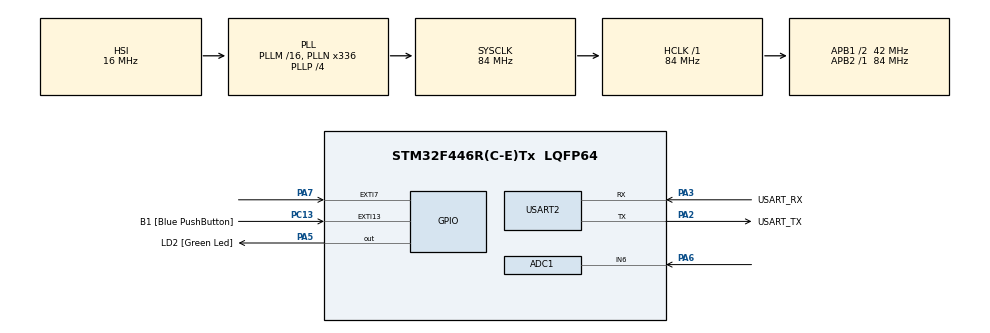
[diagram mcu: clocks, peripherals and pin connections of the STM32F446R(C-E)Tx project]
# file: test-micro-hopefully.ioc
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ADC1.Channel-4\#ChannelRegularConversion=ADC_CHANNEL_6
ADC1.NbrOfConversionFlag=1
ADC1.Rank-4\#ChannelRegularConversion=1
ADC1.SamplingTime-4\#ChannelRegularConversion=ADC_SAMPLETIME_3CYCLES
ADC1.master=1
Dma.ADC1.0.Direction=DMA_PERIPH_TO_MEMORY
Dma.ADC1.0.FIFOMode=DMA_FIFOMODE_DISABLE
Dma.ADC1.0.Instance=DMA2_Stream0
Dma.ADC1.0.MemDataAlignment=DMA_MDATAALIGN_HALFWORD
Dma.ADC1.0.MemInc=DMA_MINC_ENABLE
Dma.ADC1.0.Mode=DMA_NORMAL
Dma.ADC1.0.PeriphDataAlignment=DMA_PDATAALIGN_HALFWORD
Dma.ADC1.0.PeriphInc=DMA_PINC_DISABLE
Dma.ADC1.0.Priority=DMA_PRIORITY_LOW
Dma.Request0=ADC1
Dma.Request1=USART2_TX
Dma.USART2_TX.1.Direction=DMA_MEMORY_TO_PERIPH
Dma.USART2_TX.1.FIFOMode=DMA_FIFOMODE_DISABLE
Dma.USART2_TX.1.Instance=DMA1_Stream6
Dma.USART2_TX.1.MemDataAlignment=DMA_MDATAALIGN_BYTE
Dma.USART2_TX.1.MemInc=DMA_MINC_ENABLE
Dma.USART2_TX.1.Mode=DMA_NORMAL
Dma.USART2_TX.1.PeriphDataAlignment=DMA_PDATAALIGN_BYTE
Dma.USART2_TX.1.PeriphInc=DMA_PINC_DISABLE
Dma.USART2_TX.1.Priority=DMA_PRIORITY_LOW
Mcu.Family=STM32F4
Mcu.Name=STM32F446R(C-E)Tx
Mcu.Package=LQFP64
NVIC.DMA1_Stream6_IRQn=true\:0\:0\:false\:false\:true\:false\:true\:true
NVIC.DMA2_Stream0_IRQn=true\:0\:0\:false\:false\:true\:false\:true\:true
NVIC.EXTI15_10_IRQn=true\:0\:0\:false\:false\:true\:true\:true\:true
NVIC.EXTI9_5_IRQn=true\:0\:0\:false\:false\:true\:true\:true\:true
NVIC.PriorityGroup=NVIC_PRIORITYGROUP_0
NVIC.TIM2_IRQn=true\:0\:0\:false\:false\:true\:true\:true\:true
NVIC.TIM3_IRQn=true\:0\:0\:false\:false\:true\:true\:true\:true
NVIC.USART2_IRQn=true\:0\:0\:false\:false\:true\:true\:true\:true
PA13.GPIO_Label=TMS
PA13.Mode=Serial_Wire
PA13.Signal=SYS_JTMS-SWDIO
PA14.GPIO_Label=TCK
PA14.Mode=Serial_Wire
PA14.Signal=SYS_JTCK-SWCLK
PA2.GPIO_Label=USART_TX
PA2.Mode=Asynchronous
PA2.Signal=USART2_TX
PA3.GPIO_Label=USART_RX
PA3.Mode=Asynchronous
PA3.Signal=USART2_RX
PA5.GPIO_Label=LD2 [Green Led]
PA5.Signal=GPIO_Output
PA6.Signal=ADCx_IN6
PA7.GPIO_ModeDefaultEXTI=GPIO_MODE_IT_RISING_FALLING
PA7.Signal=GPXTI7
PB3.GPIO_Label=SWO
PB3.Signal=SYS_JTDO-SWO
PC13.GPIO_Label=B1 [Blue PushButton]
PC13.GPIO_ModeDefaultEXTI=GPIO_MODE_IT_FALLING
PC13.Signal=GPXTI13
PC14-OSC32_IN.Mode=LSE-External-Oscillator
PC14-OSC32_IN.Signal=RCC_OSC32_IN
PC15-OSC32_OUT.Mode=LSE-External-Oscillator
PC15-OSC32_OUT.Signal=RCC_OSC32_OUT
PH0-OSC_IN.Mode=HSE-External-Oscillator
PH0-OSC_IN.Signal=RCC_OSC_IN
PH1-OSC_OUT.Mode=HSE-External-Oscillator
PH1-OSC_OUT.Signal=RCC_OSC_OUT
ProjectManager.HeapSize=0x200
ProjectManager.StackSize=0x400
ProjectManager.TargetToolchain=Makefile
RCC.48MHZClocksFreq_Value=84000000
RCC.AHBFreq_Value=84000000
RCC.APB1CLKDivider=RCC_HCLK_DIV2
RCC.APB1Freq_Value=42000000
RCC.APB1TimFreq_Value=84000000
RCC.APB2Freq_Value=84000000
RCC.APB2TimFreq_Value=84000000
RCC.CortexFreq_Value=84000000
RCC.FLatency-AdvancedSettings=FLASH_LATENCY_2
RCC.HCLKFreq_Value=84000000
RCC.HSE_VALUE=8000000
RCC.HSI_VALUE=16000000
RCC.PLLN=336
RCC.PLLP=RCC_PLLP_DIV4
RCC.SYSCLKFreq_VALUE=84000000
RCC.SYSCLKSource=RCC_SYSCLKSOURCE_PLLCLK
RCC.USBFreq_Value=168000000
RCC.VCOOutputFreq_Value=336000000
SH.ADCx_IN6.0=ADC1_IN6,IN6
TIM2.Period=50000
TIM2.Prescaler=8400
TIM3.Period=1000
TIM3.Prescaler=8400
USART2.VirtualMode=VM_ASYNC
VP_TIM2_VS_ClockSourceINT.Mode=Internal
VP_TIM3_VS_ClockSourceINT.Mode=Internal
board=NUCLEO-F446RE

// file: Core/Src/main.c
/* USER CODE BEGIN Header */
/**
  ******************************************************************************
  * @file           : main.c
  * @brief          : Main program body
  ******************************************************************************
  * @attention
  *
  * Copyright (c) 2024 STMicroelectronics.
  * All rights reserved.
  *
  * This software is licensed under terms that can be found in the LICENSE file
  * in the root directory of this software component.
  * If no LICENSE file comes with this software, it is provided AS-IS.
  *
  ******************************************************************************
  */
/* USER CODE END Header */
#include "main.h"

/* USER CODE BEGIN Includes */
#include<stdbool.h>
#include<stdio.h>
#include<string.h>
#include <time.h>
#include <stdlib.h>
/* USER CODE END Includes */

/* USER CODE BEGIN PTD */
typedef enum{
  APP_INIT, APP_WAIT_REQUEST, APP_LISTENING, APP_PAUSE, APP_WARNING, APP_ERROR
} App_State;

typedef enum{
  FILTER_NONE, FILTER_RAW, FILTER_AVG, FILTER_RND
} Filter_Type;
/* USER CODE END PTD */

/* USER CODE BEGIN PD */
#define BUFFER_SIZE 30 // for cli input
#define RECORDABLE_VALUES 150 // for sensor value recording
#define POTENTIOMETER_THRESHOLD 2047
/* USER CODE END PD */

/* USER CODE BEGIN PM */
#define CHECK(res) if(res!=HAL_OK) {State = APP_ERROR;}
#define BREAK_IF_ERROR() if(State==APP_ERROR) {break;}
#define STOP_5SEC_TIMER() CHECK(HAL_TIM_Base_Stop_IT(&htim2)); __HAL_TIM_SET_COUNTER(&htim2,1);
/* USER CODE END PM */

ADC_HandleTypeDef hadc1;
DMA_HandleTypeDef hdma_adc1;

TIM_HandleTypeDef htim2;
TIM_HandleTypeDef htim3;

UART_HandleTypeDef huart2;
DMA_HandleTypeDef hdma_usart2_tx;

/* USER CODE BEGIN PV */
typedef struct {
  uint32_t hall;
  uint32_t result;
  uint32_t array[RECORDABLE_VALUES];
  uint8_t array_length;
  uint8_t array_index;
  uint32_t array_sum;
} Sensor_result_container;

Sensor_result_container analog = {0};
Sensor_result_container digital = {0};

uint8_t input_buffer[BUFFER_SIZE] = {0}; //uart buffer
uint8_t command[BUFFER_SIZE] = {0}; //it contains all received chars from cli, even if sent one at a time
uint8_t command_idx = 0;

App_State State = APP_INIT;

uint8_t timer_counter = 0; // for flashing led, it counts how many times 100ms passed

bool is_adc_ready = false;
bool request_state_change = false;
bool is_warning = false;
bool first_time_timer = true; // to avoid triggering warning when you start it the first time from flash
bool is_hall_sensor = true; //true if it's a sensor hall, false if it's a potentiometer

Filter_Type filter = FILTER_NONE;

//for debugging purposes
/*char READY[] = "RDY\n";
char BUSY[] = "BSY\n";
char UNKNOWN[] = "IDK\n";
uint32_t count = 0;*/
/* USER CODE END PV */

void SystemClock_Config(void);
static void MX_GPIO_Init(void);
static void MX_DMA_Init(void);
static void MX_USART2_UART_Init(void);
static void MX_ADC1_Init(void);
static void MX_TIM3_Init(void);
static void MX_TIM2_Init(void);
/* USER CODE BEGIN PFP */
void resetSensorValues(void);
void randomFilter(void);
void movingAverage(void);
void simulateDigitalForPotentiometer(void);
/* USER CODE END PFP */

int main(void)
{

  /* USER CODE BEGIN 1 */
  State = APP_INIT;
  srand(time(NULL));

  /* USER CODE END 1 */

  /* MCU Configuration--------------------------------------------------------*/

  /* Reset of all peripherals, Initializes the Flash interface and the Systick. */
  HAL_Init();

  /* Configure the system clock */
  SystemClock_Config();

  /* Initialize all configured peripherals */
  MX_GPIO_Init();
  MX_DMA_Init();
  MX_USART2_UART_Init();
  MX_ADC1_Init();
  MX_TIM3_Init();
  MX_TIM2_Init();

  /* Infinite loop */
  /* USER CODE BEGIN WHILE */
  while (1)
  {

    switch (State)
    {
    case APP_INIT:
      for(int i=0; i<BUFFER_SIZE; i++) input_buffer[i]=0;
      for(int i=0; i<BUFFER_SIZE; i++) command[i]=0;
      command_idx = 0;
      //count = 0; for debugging purposes

      is_adc_ready = false;
      request_state_change = false;
      is_warning = false;
      is_hall_sensor = true;
      filter = FILTER_NONE;
      timer_counter = 0;

      State = APP_WAIT_REQUEST;
      CHECK(HAL_UARTEx_ReceiveToIdle_IT(&huart2,input_buffer,sizeof(input_buffer)));
      break;

    case APP_WAIT_REQUEST:
      HAL_GPIO_WritePin(LD2_GPIO_Port,LD2_Pin,GPIO_PIN_RESET);
      if(request_state_change){
        State = APP_LISTENING;
        request_state_change = false;
        resetSensorValues();
        CHECK(HAL_UART_Abort(&huart2) );
      }
      break;

    case APP_LISTENING:
      //DMA conversion is not continuous, must be called every cycle
      CHECK(HAL_ADC_Start_DMA(&hadc1, &analog.hall, 1));
      BREAK_IF_ERROR();
      HAL_GPIO_WritePin(LD2_GPIO_Port,LD2_Pin,GPIO_PIN_SET);
      while(!is_adc_ready);

      if(!is_hall_sensor) simulateDigitalForPotentiometer();

      switch (filter)
      {
      case FILTER_AVG:
        movingAverage();
        break;

      case FILTER_RND:
        randomFilter();
        break;

      case FILTER_RAW:
        analog.result = analog.hall;
        digital.result = digital.hall;
        break;

      default:
        State = APP_ERROR;
        break;
      }
      BREAK_IF_ERROR();

      //we send data in serial in the format "<analog> <digital>\n"
      char buf[50] = {0};
      snprintf(buf,50,"%lu\t%lu\n",analog.result,digital.result);
      CHECK(HAL_UART_Transmit(&huart2,(unsigned char *)buf,strlen(buf),20));
      is_adc_ready = false;
      HAL_Delay(5);

      if(request_state_change){
        request_state_change = false;
        State = APP_PAUSE;
        CHECK(HAL_TIM_Base_Start_IT(&htim3));
        CHECK(HAL_UARTEx_ReceiveToIdle_IT(&huart2,input_buffer,sizeof(input_buffer)));
        STOP_5SEC_TIMER();
        filter = FILTER_NONE;
      }

      if(is_warning){
        is_warning = false;
        State = APP_WARNING;
        STOP_5SEC_TIMER();
        HAL_GPIO_WritePin(LD2_GPIO_Port,LD2_Pin,GPIO_PIN_RESET);
        filter = FILTER_NONE;
      }
      break;

    case APP_PAUSE:
      if(request_state_change){
        request_state_change = false;
        State = APP_LISTENING;
        resetSensorValues();
        CHECK(HAL_UART_Abort(&huart2));
        CHECK(HAL_TIM_Base_Stop_IT(&htim3));
      }
      break;

    case APP_WARNING:
      CHECK(HAL_UART_Transmit(&huart2,(unsigned char *)"WARNING\r\n",9,30));
      HAL_Delay(250);
      if(request_state_change){
        request_state_change = false;
        State = APP_WAIT_REQUEST;
        CHECK(HAL_UARTEx_ReceiveToIdle_IT(&huart2,input_buffer,sizeof(input_buffer)));
        resetSensorValues();
      }
      break;

    case APP_ERROR:
      if(htim3.State==HAL_TIM_STATE_READY) HAL_TIM_Base_Start_IT(&htim3);
      STOP_5SEC_TIMER();
      HAL_UART_Transmit(&huart2,(unsigned char *)"ERROR\r\n",7,30);
      HAL_Delay(250);
      if(request_state_change){
        request_state_change = false;
        State = APP_INIT;
        CHECK(HAL_TIM_Base_Stop_IT(&htim3));
      }
      break;

    default:
      break;
    }

    // for debugging purposes
    /*char* point;
    if(htim2.State == HAL_TIM_STATE_READY){point = READY;}
    else if(htim2.State == HAL_TIM_STATE_BUSY){point = BUSY;}
    else {point = UNKNOWN;}
    if(State == APP_PAUSE || State == APP_WAIT_REQUEST){
      count++;
      if(count==250000){
        HAL_UART_Transmit(&huart2,(unsigned char*)point,4,20);
        count = 0;
      }
    } else HAL_UART_Transmit(&huart2,(unsigned char*)point,4,20);*/

    /* USER CODE END WHILE */

  }
}

void SystemClock_Config(void)
{
  RCC_OscInitTypeDef RCC_OscInitStruct = {0};
  RCC_ClkInitTypeDef RCC_ClkInitStruct = {0};

  /** Configure the main internal regulator output voltage
  */
  __HAL_RCC_PWR_CLK_ENABLE();
  __HAL_PWR_VOLTAGESCALING_CONFIG(PWR_REGULATOR_VOLTAGE_SCALE3);

  /** Initializes the RCC Oscillators according to the specified parameters
  * in the RCC_OscInitTypeDef structure.
  */
  RCC_OscInitStruct.OscillatorType = RCC_OSCILLATORTYPE_HSI;
  RCC_OscInitStruct.HSIState = RCC_HSI_ON;
  RCC_OscInitStruct.HSICalibrationValue = RCC_HSICALIBRATION_DEFAULT;
  RCC_OscInitStruct.PLL.PLLState = RCC_PLL_ON;
  RCC_OscInitStruct.PLL.PLLSource = RCC_PLLSOURCE_HSI;
  RCC_OscInitStruct.PLL.PLLM = 16;
  RCC_OscInitStruct.PLL.PLLN = 336;
  RCC_OscInitStruct.PLL.PLLP = RCC_PLLP_DIV4;
  RCC_OscInitStruct.PLL.PLLQ = 2;
  RCC_OscInitStruct.PLL.PLLR = 2;
  if (HAL_RCC_OscConfig(&RCC_OscInitStruct) != HAL_OK)
  {
    Error_Handler();
  }

  /** Initializes the CPU, AHB and APB buses clocks
  */
  RCC_ClkInitStruct.ClockType = RCC_CLOCKTYPE_HCLK|RCC_CLOCKTYPE_SYSCLK
                              |RCC_CLOCKTYPE_PCLK1|RCC_CLOCKTYPE_PCLK2;
  RCC_ClkInitStruct.SYSCLKSource = RCC_SYSCLKSOURCE_PLLCLK;
  RCC_ClkInitStruct.AHBCLKDivider = RCC_SYSCLK_DIV1;
  RCC_ClkInitStruct.APB1CLKDivider = RCC_HCLK_DIV2;
  RCC_ClkInitStruct.APB2CLKDivider = RCC_HCLK_DIV1;

  if (HAL_RCC_ClockConfig(&RCC_ClkInitStruct, FLASH_LATENCY_2) != HAL_OK)
  {
    Error_Handler();
  }
}

static void MX_ADC1_Init(void)
{

  ADC_ChannelConfTypeDef sConfig = {0};

  /** Configure the global features of the ADC (Clock, Resolution, Data Alignment and number of conversion)
  */
  hadc1.Instance = ADC1;
  hadc1.Init.ClockPrescaler = ADC_CLOCK_SYNC_PCLK_DIV4;
  hadc1.Init.Resolution = ADC_RESOLUTION_12B;
  hadc1.Init.ScanConvMode = DISABLE;
  hadc1.Init.ContinuousConvMode = DISABLE;
  hadc1.Init.DiscontinuousConvMode = DISABLE;
  hadc1.Init.ExternalTrigConvEdge = ADC_EXTERNALTRIGCONVEDGE_NONE;
  hadc1.Init.ExternalTrigConv = ADC_SOFTWARE_START;
  hadc1.Init.DataAlign = ADC_DATAALIGN_RIGHT;
  hadc1.Init.NbrOfConversion = 1;
  hadc1.Init.DMAContinuousRequests = DISABLE;
  hadc1.Init.EOCSelection = ADC_EOC_SINGLE_CONV;
  if (HAL_ADC_Init(&hadc1) != HAL_OK)
  {
    Error_Handler();
  }

  /** Configure for the selected ADC regular channel its corresponding rank in the sequencer and its sample time.
  */
  sConfig.Channel = ADC_CHANNEL_6;
  sConfig.Rank = 1;
  sConfig.SamplingTime = ADC_SAMPLETIME_3CYCLES;
  if (HAL_ADC_ConfigChannel(&hadc1, &sConfig) != HAL_OK)
  {
    Error_Handler();
  }

}

static void MX_TIM2_Init(void)
{

  TIM_ClockConfigTypeDef sClockSourceConfig = {0};
  TIM_MasterConfigTypeDef sMasterConfig = {0};

  htim2.Instance = TIM2;
  htim2.Init.Prescaler = 8400;
  htim2.Init.CounterMode = TIM_COUNTERMODE_UP;
  htim2.Init.Period = 50000;
  htim2.Init.ClockDivision = TIM_CLOCKDIVISION_DIV1;
  htim2.Init.AutoReloadPreload = TIM_AUTORELOAD_PRELOAD_DISABLE;
  if (HAL_TIM_Base_Init(&htim2) != HAL_OK)
  {
    Error_Handler();
  }
  sClockSourceConfig.ClockSource = TIM_CLOCKSOURCE_INTERNAL;
  if (HAL_TIM_ConfigClockSource(&htim2, &sClockSourceConfig) != HAL_OK)
  {
    Error_Handler();
  }
  sMasterConfig.MasterOutputTrigger = TIM_TRGO_RESET;
  sMasterConfig.MasterSlaveMode = TIM_MASTERSLAVEMODE_DISABLE;
  if (HAL_TIMEx_MasterConfigSynchronization(&htim2, &sMasterConfig) != HAL_OK)
  {
    Error_Handler();
  }

}

static void MX_TIM3_Init(void)
{

  TIM_ClockConfigTypeDef sClockSourceConfig = {0};
  TIM_MasterConfigTypeDef sMasterConfig = {0};

  htim3.Instance = TIM3;
  htim3.Init.Prescaler = 8400;
  htim3.Init.CounterMode = TIM_COUNTERMODE_UP;
  htim3.Init.Period = 1000;
  htim3.Init.ClockDivision = TIM_CLOCKDIVISION_DIV1;
  htim3.Init.AutoReloadPreload = TIM_AUTORELOAD_PRELOAD_DISABLE;
  if (HAL_TIM_Base_Init(&htim3) != HAL_OK)
  {
    Error_Handler();
  }
  sClockSourceConfig.ClockSource = TIM_CLOCKSOURCE_INTERNAL;
  if (HAL_TIM_ConfigClockSource(&htim3, &sClockSourceConfig) != HAL_OK)
  {
    Error_Handler();
  }
  sMasterConfig.MasterOutputTrigger = TIM_TRGO_RESET;
  sMasterConfig.MasterSlaveMode = TIM_MASTERSLAVEMODE_DISABLE;
  if (HAL_TIMEx_MasterConfigSynchronization(&htim3, &sMasterConfig) != HAL_OK)
  {
    Error_Handler();
  }

}

static void MX_USART2_UART_Init(void)
{

  huart2.Instance = USART2;
  huart2.Init.BaudRate = 115200;
  huart2.Init.WordLength = UART_WORDLENGTH_8B;
  huart2.Init.StopBits = UART_STOPBITS_1;
  huart2.Init.Parity = UART_PARITY_NONE;
  huart2.Init.Mode = UART_MODE_TX_RX;
  huart2.Init.HwFlowCtl = UART_HWCONTROL_NONE;
  huart2.Init.OverSampling = UART_OVERSAMPLING_16;
  if (HAL_UART_Init(&huart2) != HAL_OK)
  {
    Error_Handler();
  }

}

static void MX_DMA_Init(void)
{

  /* DMA controller clock enable */
  __HAL_RCC_DMA2_CLK_ENABLE();
  __HAL_RCC_DMA1_CLK_ENABLE();

  /* DMA interrupt init */
  /* DMA1_Stream6_IRQn interrupt configuration */
  HAL_NVIC_SetPriority(DMA1_Stream6_IRQn, 0, 0);
  HAL_NVIC_EnableIRQ(DMA1_Stream6_IRQn);
  /* DMA2_Stream0_IRQn interrupt configuration */
  HAL_NVIC_SetPriority(DMA2_Stream0_IRQn, 0, 0);
  HAL_NVIC_EnableIRQ(DMA2_Stream0_IRQn);

}

static void MX_GPIO_Init(void)
{
  GPIO_InitTypeDef GPIO_InitStruct = {0};

  /* GPIO Ports Clock Enable */
  __HAL_RCC_GPIOC_CLK_ENABLE();
  __HAL_RCC_GPIOH_CLK_ENABLE();
  __HAL_RCC_GPIOA_CLK_ENABLE();
  __HAL_RCC_GPIOB_CLK_ENABLE();

  /*Configure GPIO pin Output Level */
  HAL_GPIO_WritePin(LD2_GPIO_Port, LD2_Pin, GPIO_PIN_RESET);

  /*Configure GPIO pin : B1_Pin */
  GPIO_InitStruct.Pin = B1_Pin;
  GPIO_InitStruct.Mode = GPIO_MODE_IT_FALLING;
  GPIO_InitStruct.Pull = GPIO_NOPULL;
  HAL_GPIO_Init(B1_GPIO_Port, &GPIO_InitStruct);

  /*Configure GPIO pin : LD2_Pin */
  GPIO_InitStruct.Pin = LD2_Pin;
  GPIO_InitStruct.Mode = GPIO_MODE_OUTPUT_PP;
  GPIO_InitStruct.Pull = GPIO_NOPULL;
  GPIO_InitStruct.Speed = GPIO_SPEED_FREQ_LOW;
  HAL_GPIO_Init(LD2_GPIO_Port, &GPIO_InitStruct);

  /*Configure GPIO pin : PA7 */
  GPIO_InitStruct.Pin = GPIO_PIN_7;
  GPIO_InitStruct.Mode = GPIO_MODE_IT_RISING_FALLING;
  GPIO_InitStruct.Pull = GPIO_NOPULL;
  HAL_GPIO_Init(GPIOA, &GPIO_InitStruct);

  /* EXTI interrupt init*/
  HAL_NVIC_SetPriority(EXTI9_5_IRQn, 0, 0);
  HAL_NVIC_EnableIRQ(EXTI9_5_IRQn);

  HAL_NVIC_SetPriority(EXTI15_10_IRQn, 0, 0);
  HAL_NVIC_EnableIRQ(EXTI15_10_IRQn);

}

/* USER CODE BEGIN 4 */

//to know that the ADC conversion is over
void HAL_ADC_ConvCpltCallback(ADC_HandleTypeDef* hadc){
  is_adc_ready = true;
}

//for TIM2(5sec high value timer) and TIM3 (led flasher timer)
void HAL_TIM_PeriodElapsedCallback(TIM_HandleTypeDef *htim){
  if(State == APP_LISTENING && htim->Instance == htim2.Instance){
    if(first_time_timer) first_time_timer = false;
    else is_warning = true;
  }
  else if (htim->Instance == htim3.Instance){
    switch (State)
    {
    case APP_PAUSE:
    timer_counter++;
      if(timer_counter%10 == 0){
        HAL_GPIO_TogglePin(LD2_GPIO_Port,LD2_Pin);
        if(timer_counter==20) timer_counter = 0;
      }
      break;

    case APP_ERROR:
    timer_counter++;
      if(timer_counter%2 == 0){
        HAL_GPIO_TogglePin(LD2_GPIO_Port,LD2_Pin);
        if(timer_counter==4) timer_counter = 0;
      }

    default:
      break;
    }
  }

}

// used to set the digital hall value
void HAL_GPIO_EXTI_Callback (uint16_t GPIO_Pin){

  //The EXTI callback for digital input is only used when in hall sensor mode
  if(State == APP_LISTENING && GPIO_Pin == GPIO_PIN_7 && is_hall_sensor){

    digital.hall = HAL_GPIO_ReadPin(GPIOA,GPIO_PIN_7) == GPIO_PIN_RESET ? 0 : 100;
    if(digital.hall==100){
      CHECK(HAL_TIM_Base_Start_IT(&htim2));
    } else {
      STOP_5SEC_TIMER();
    }
  }
  else if(GPIO_Pin == B1_Pin){
    /*if(State == APP_ERROR) HAL_NVIC_SystemReset(); // idk if the request was this
    else request_state_change = true; */
    request_state_change = true;
  }

}

//
// used for serial input from terminal, it works whether input is sent all at once
// or char by char like on a terminal
void HAL_UARTEx_RxEventCallback(UART_HandleTypeDef *huart, uint16_t Size){

  for(int i=0; i<Size; i++){
    uint8_t ch = input_buffer[i];

    if(ch == '\0' || ch == '\n' || ch == '\r' || command_idx == BUFFER_SIZE-1){ // accept command

      command[command_idx] = '\0';
      if(strncmp("raw",(char *)command,4) == 0) filter = FILTER_RAW;
      else if(strncmp("moving average",(char *)command,15) == 0) filter = FILTER_AVG;
      else if(strncmp("random noise",(char *)command,13) == 0) filter = FILTER_RND;
      else if(strncmp("hall",(char *)command,5) == 0) is_hall_sensor = true;
      else if(strncmp("potentiometer",(char *)command,14) == 0) is_hall_sensor = false;
      else filter = FILTER_NONE;
      //to let people know what they typed
      char buf[50] = {0};
      snprintf(buf,50,"Received!: %s\n",command);
      HAL_UART_Transmit(&huart2,(unsigned char*)buf,strlen(buf),50);

      command_idx = 0;
      for(int i=0; i<BUFFER_SIZE; i++) command[i]=0;
      break;

    } else if(ch == 127){ // see if input is DELETE
      command_idx = command_idx>1 ? command_idx-1 : 0;

    } else if(ch > 31 && ch < 127){ // printable char, so copy it
      command[command_idx] = ch;
      command_idx++;
    } // else ignore
  }
  HAL_UARTEx_ReceiveToIdle_IT(huart, input_buffer,BUFFER_SIZE);
}

void resetSensorValues(void){
  analog.hall = 0;
  analog.result = 0;
  for(int i=0; i<RECORDABLE_VALUES; i++) analog.array[i] = 0;
  analog.array_length = 0;
  analog.array_index = 0;
  analog.array_sum = 0;

  digital.hall = 0;
  digital.result = 0;
  for(int i=0; i<RECORDABLE_VALUES; i++) digital.array[i] = 0;
  digital.array_length = 0;
  digital.array_index = 0;
  digital.array_sum = 0;
}

void randomFilter(void){
  //10% variation of analog results
  int val = (rand()%400)-200;

  if(val > 189) digital.result = 100;
  else if(val < -190) digital.result = 0;
  else digital.result = digital.hall;

  if(val >= 0) {
    uint16_t new_value = analog.hall+val;
    analog.result = 4095 >= new_value ? new_value : 4095;
  }
  else analog.result = analog.hall >= -val ? analog.hall + val : 0;

}

void movingAverage(void){
  //Eliminate the 151th last value, since ArrayIdx points to the next
  //value to be removed. Even if a 151th value doesn't exist, the subtraction
  // doesn't harm because for it to not have such value, it must be reset
  // If it was reset then all values forward are zero
  analog.array_sum -= analog.array[analog.array_index];
  analog.array_sum += analog.hall;
  analog.array[analog.array_index] = analog.hall;
  analog.array_index = (analog.array_index+1)%RECORDABLE_VALUES;
  if(analog.array_length < RECORDABLE_VALUES) analog.array_length++;
  analog.result = analog.array_sum / analog.array_length;

  digital.array_sum -= digital.array[digital.array_index];
  digital.array_sum += digital.hall;
  digital.array[digital.array_index] = digital.hall;
  digital.array_index = (digital.array_index+1)%RECORDABLE_VALUES;
  if(digital.array_length < RECORDABLE_VALUES) digital.array_length++;
  digital.result = digital.array_sum / digital.array_length;
}

//WORK ON THIS
void simulateDigitalForPotentiometer(void){
  if(analog.hall > POTENTIOMETER_THRESHOLD){

    digital.hall = 100;
    if(htim2.State == HAL_TIM_STATE_READY){ //only when it's read you start it, otherwise you get HAL_ERROR
      CHECK(HAL_TIM_Base_Start_IT(&htim2))
    }
    else if(htim2.State == HAL_TIM_STATE_BUSY); //don't do anything, it's already doing its honest work
    else State = APP_ERROR;

  } else{

    digital.hall = 0;
    STOP_5SEC_TIMER()
  }
}
/* USER CODE END 4 */

void Error_Handler(void)
{
  __disable_irq();
  while (1)
  {
  }
}
